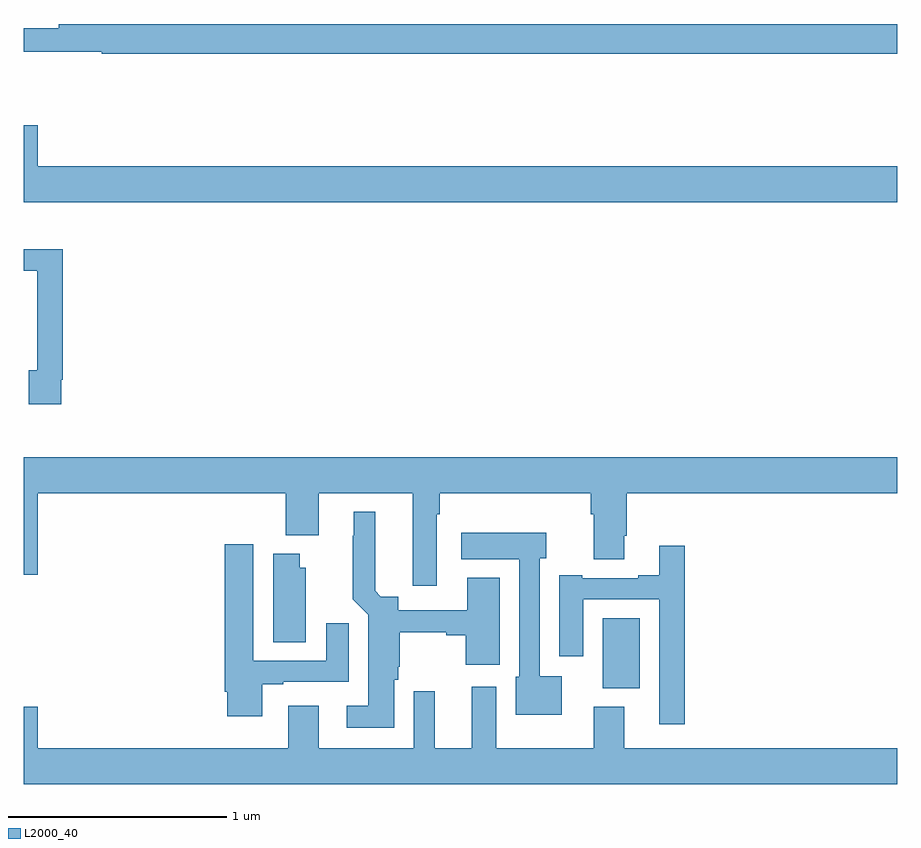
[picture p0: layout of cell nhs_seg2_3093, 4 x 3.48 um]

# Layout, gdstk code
import gdstk
lib = gdstk.Library(unit=1e-6, precision=1e-09)
def R(c, l, rs):  # rectangles x0, y0, x1, y1
    for r in rs: c.add(gdstk.rectangle(r[:2], r[2:], *l))
def P(c, l, *ps):  # polygons
    for p in ps: c.add(gdstk.Polygon(p, *l))
L2000_40 = (2000, 40)

nhs_seg2_3093 = lib.new_cell('nhs_seg2_3093')
R(nhs_seg2_3093, L2000_40, [(275.651,654.734,275.821,655.054)])
P(nhs_seg2_3093, L2000_40, [(277,657.776),(273.16,657.776),(273.16,657.757),(273,657.757),(273,657.648),(273.358,657.648),(273.358,657.64),(277,657.64)],
  [(277,657.124),(273.064,657.124),(273.064,657.313),(273,657.313),(273,656.96),(277,656.96)],
  [(273.172,656.146),(273.179,656.146),(273.179,656.744),(273,656.744),(273,656.646),(273.063,656.646),(273.063,656.19),(273.023,656.19),(273.023,656.034),(273.172,656.034)],
  [(274.891,655.532),(274.904,655.532),(274.904,655.628),(275.597,655.628),(275.597,655.532),(275.609,655.532),(275.609,655.324),(275.749,655.324),(275.749,655.432),(275.762,655.432),(275.762,655.628),(277,655.628),(277,655.792),(273,655.792),(273,655.254),(273.064,655.254),(273.064,655.628),(274.199,655.628),(274.199,655.436),(274.351,655.436),(274.351,655.628),(274.781,655.628),(274.781,655.203),(274.891,655.203)],
  [(274.696,654.774),(274.716,654.774),(274.716,654.834),(274.722,654.834),(274.722,654.991),(274.934,654.991),(274.934,654.976),(275.023,654.976),(275.023,654.843),(275.179,654.843),(275.179,655.24),(275.03,655.24),(275.03,655.092),(274.716,655.092),(274.716,655.154),(274.635,655.154),(274.609,655.18),(274.609,655.543),(274.511,655.543),(274.511,655.433),(274.507,655.433),(274.507,655.142),(274.577,655.072),(274.577,654.655),(274.479,654.655),(274.479,654.554),(274.696,654.554)],
  [(275.464,654.79),(275.364,654.79),(275.364,655.329),(275.392,655.329),(275.392,655.447),(275.004,655.447),(275.004,655.325),(275.268,655.325),(275.268,654.786),(275.252,654.786),(275.252,654.614),(275.464,654.614)],
  [(274.093,654.753),(274.189,654.753),(274.189,654.765),(274.489,654.765),(274.489,655.033),(274.385,655.033),(274.385,654.861),(274.051,654.861),(274.051,655.393),(273.92,655.393),(273.92,654.718),(273.932,654.718),(273.932,654.606),(274.093,654.606)],
  [(276.026,655.387),(275.909,655.387),(275.909,655.252),(275.813,655.252),(275.813,655.239),(275.557,655.239),(275.557,655.252),(275.453,655.252),(275.453,654.882),(275.563,654.882),(275.563,655.143),(275.91,655.143),(275.91,654.57),(276.026,654.57)],
  [(274.291,655.287),(274.264,655.287),(274.264,655.351),(274.142,655.351),(274.142,654.946),(274.291,654.946)],
  [(277,654.46),(275.749,654.46),(275.749,654.649),(275.609,654.649),(275.609,654.46),(275.164,654.46),(275.164,654.742),(275.051,654.742),(275.051,654.46),(274.882,654.46),(274.882,654.721),(274.785,654.721),(274.785,654.46),(274.351,654.46),(274.351,654.655),(274.211,654.655),(274.211,654.46),(273.064,654.46),(273.064,654.649),(273,654.649),(273,654.296),(277,654.296)])

lib.write_gds('nhs_seg2_3093.gds')
